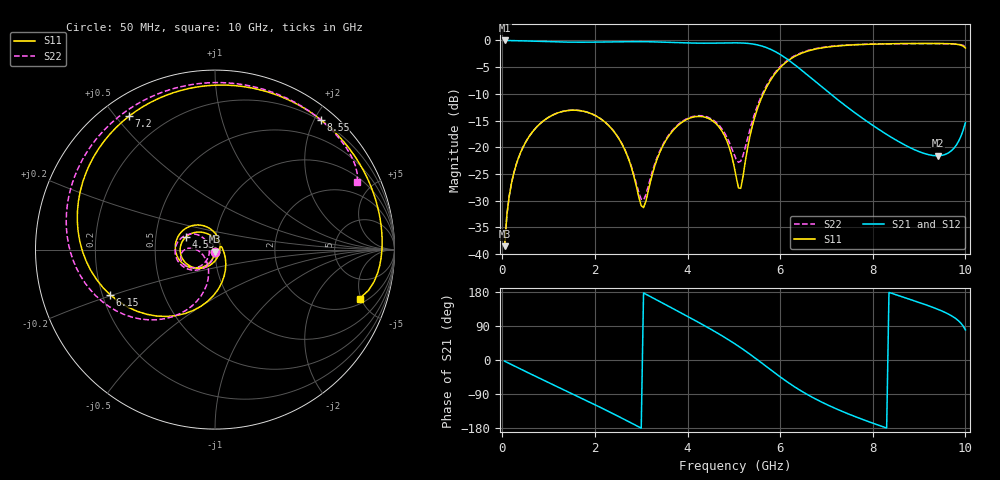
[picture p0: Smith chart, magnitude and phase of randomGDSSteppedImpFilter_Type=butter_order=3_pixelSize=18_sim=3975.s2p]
! freq	dB(S11)	phase(S11)	dB(S12)	phase(S12)
!  dB(S21)	phase(S21)	dB(S22)	phase(S22)
!S-par simulation data
#  GHz  S  DB  R 50
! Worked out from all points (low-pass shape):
!   200 points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, 50 MHz to 10 GHz, reference 50 ohm
!   highest |S21| = -0.01 dB at 50 MHz (marker M1); lowest = -21.6 dB at 9.4 GHz (marker M2)
!   |S21| within 3 dB of the highest: start of sweep to 6.068 GHz
!   lowest |S11| = -38.5 dB at 50 MHz (marker M3), VSWR 1.02, Z = 49.9 - j1.18 ohm
!   |S11| at or under -10 dB: start of sweep to 5.637 GHz
!   |S22| runs from -38.5 to -0.6 dB; largest |S21 - S12| = 0
!   S11 on the Smith chart (normalised r, x): 50 MHz: 1.00, -0.02; 4.55 GHz: 0.72, +0.11; 6.15 GHz: 0.23, -0.20; 7.2 GHz: 0.08, +0.54; 8.55 GHz: 0.19, +2.09; 10 GHz: 2.47, -4.86
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0.05  -38.52 -92.3  -0.01 -3.1  -0.01 -3.1  -38.51 -91.8
0.2  -26.67 -102.8  -0.03 -12.2  -0.03 -12.2  -26.66 -101.4
0.5  -19.13 -122.2  -0.10 -30.1  -0.10 -30.1  -19.12 -118.8
1.15  -13.74 -163.2  -0.27 -68.4  -0.27 -68.4  -13.73 -154.7
1.75  -13.26 158.8  -0.33 -103.3  -0.33 -103.3  -13.25 173.7
2.5  -18.15 105.0  -0.25 -148.3  -0.25 -148.3  -18.12 138.9
3.05  -31.30 -17.3  -0.23 176.9  -0.23 176.9  -29.87 -169.3
3.4  -20.98 -106.7  -0.30 154.2  -0.30 154.2  -20.71 -128.0
4  -14.73 -159.3  -0.47 115.1  -0.47 115.1  -14.60 -151.1
4.55  -15.11 155.6  -0.51 77.9  -0.51 77.9  -14.89 -176.9
4.85  -18.83 123.9  -0.47 56.1  -0.47 56.1  -18.12 176.7
5.05  -25.54 78.3  -0.46 40.5  -0.46 40.5  -22.24 -163.8
5.15  -27.70 12.4  -0.47 32.3  -0.47 32.3  -22.60 -135.6
5.55  -11.82 -91.9  -0.92 -3.1  -0.92 -3.1  -11.33 -106.9
6.15  -3.93 -156.7  -3.49 -57.6  -3.49 -57.6  -3.78 -148.2
6.7  -1.75 156.7  -7.27 -98.7  -7.27 -98.7  -1.66 175.0
7.2  -1.07 122.8  -10.81 -128.2  -10.81 -128.2  -1.01 147.6
7.75  -0.77 91.0  -14.40 -155.5  -14.40 -155.5  -0.75 121.5
8.35  -0.63 60.4  -17.87 178.4  -17.87 178.4  -0.64 95.6
8.55  -0.60 50.9  -18.90 170.2  -18.90 170.2  -0.62 87.3
9.4  -0.57 13.0  -21.59 134.1  -21.59 134.1  -0.61 52.8
10  -1.41 -18.7  -15.40 79.5  -15.40 79.5  -1.13 25.4
